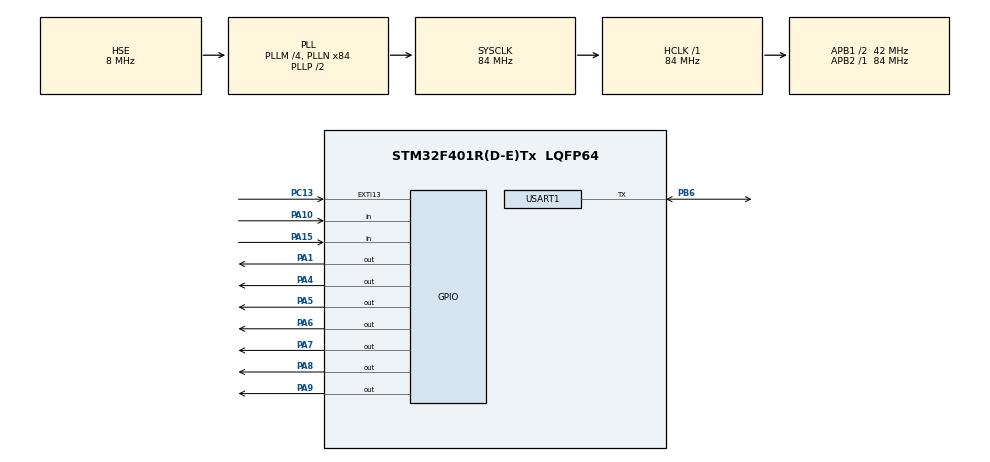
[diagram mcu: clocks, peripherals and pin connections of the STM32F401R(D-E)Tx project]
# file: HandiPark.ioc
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Mcu.Family=STM32F4
Mcu.Name=STM32F401R(D-E)Tx
Mcu.Package=LQFP64
NVIC.EXTI15_10_IRQn=true\:0\:0\:false\:false\:true\:true\:true\:true
NVIC.PriorityGroup=NVIC_PRIORITYGROUP_0
NVIC.USART1_IRQn=true\:0\:0\:false\:false\:true\:true\:true\:true
PA1.Signal=GPIO_Output
PA10.GPIO_PuPd=GPIO_PULLDOWN
PA10.Signal=GPIO_Input
PA13.Mode=Serial_Wire
PA13.Signal=SYS_JTMS-SWDIO
PA14.GPIO_Label=TCK
PA14.Mode=Serial_Wire
PA14.Signal=SYS_JTCK-SWCLK
PA15.GPIO_PuPd=GPIO_PULLDOWN
PA15.Signal=GPIO_Input
PA4.Signal=GPIO_Output
PA5.Signal=GPIO_Output
PA6.Signal=GPIO_Output
PA7.Signal=GPIO_Output
PA8.Signal=GPIO_Output
PA9.Signal=GPIO_Output
PB3.GPIO_Label=SWO
PB3.Signal=SYS_JTDO-SWO
PB6.GPIO_PuPd=GPIO_PULLUP
PB6.Mode=Half_duplex(single_wire_mode)
PB6.Signal=USART1_TX
PC13-ANTI_TAMP.GPIO_ModeDefaultEXTI=GPIO_MODE_IT_RISING
PC13-ANTI_TAMP.GPIO_PuPd=GPIO_PULLUP
PC13-ANTI_TAMP.Signal=GPXTI13
PC14-OSC32_IN.Signal=RCC_OSC32_IN
PC15-OSC32_OUT.Signal=RCC_OSC32_OUT
PH0\ -\ OSC_IN.Mode=HSE-External-Clock-Source
PH0\ -\ OSC_IN.Signal=RCC_OSC_IN
PH1\ -\ OSC_OUT.Mode=HSE-External-Clock-Source
PH1\ -\ OSC_OUT.Signal=RCC_OSC_OUT
ProjectManager.HeapSize=0x200
ProjectManager.StackSize=0x400
ProjectManager.TargetToolchain=STM32CubeIDE
RCC.48MHZClocksFreq_Value=24000000
RCC.AHBFreq_Value=84000000
RCC.APB1CLKDivider=RCC_HCLK_DIV2
RCC.APB1Freq_Value=42000000
RCC.APB1TimFreq_Value=84000000
RCC.APB2Freq_Value=84000000
RCC.APB2TimFreq_Value=84000000
RCC.CortexFreq_Value=84000000
RCC.HCLKFreq_Value=84000000
RCC.HSE_VALUE=8000000
RCC.HSI_VALUE=16000000
RCC.PLLM=4
RCC.PLLN=84
RCC.PLLQ=7
RCC.PLLSourceVirtual=RCC_PLLSOURCE_HSE
RCC.SYSCLKFreq_VALUE=84000000
RCC.SYSCLKSource=RCC_SYSCLKSOURCE_PLLCLK
RCC.VCOOutputFreq_Value=168000000
USART1.VirtualMode=VM_ASYNC
board=NUCLEO-F401RE

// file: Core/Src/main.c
/* USER CODE BEGIN Header */
/**
  ******************************************************************************
  * @file           : main.c
  * @brief          : Main program body
  ******************************************************************************
  * @attention
  *
  * Copyright (c) 2024 STMicroelectronics.
  * All rights reserved.
  *
  * This software is licensed under terms that can be found in the LICENSE file
  * in the root directory of this software component.
  * If no LICENSE file comes with this software, it is provided AS-IS.
  *
  ******************************************************************************
  */
/* USER CODE END Header */
#include "main.h"

/* USER CODE BEGIN Includes */
#include "stdio.h"
/* USER CODE END Includes */

UART_HandleTypeDef huart1;

/* USER CODE BEGIN PV */
static uint8_t handicap = 8;
static uint8_t regular = 8;

// Debounce mechanism variables
static uint32_t last_button_press = 0;
const uint32_t debounce_delay = 300;

/* USER CODE END PV */

void SystemClock_Config(void);
static void MX_GPIO_Init(void);
static void MX_USART1_UART_Init(void);

/* USER CODE BEGIN 0 */

uint8_t RxData = 0;

void HAL_UARTEx_RxEventCallback(UART_HandleTypeDef *huart, uint16_t Size) {
	HAL_UARTEx_ReceiveToIdle_IT(&huart1, &RxData, 1);
}

/* =========================================================================
If
	the USER BUTTON is pressed then number on 7-segment will increment by 1
else
	Number on the 7-segment will decrement by 1
=============================================================================
*/

// Segment numbers stored in the array
uint8_t segmentNumber[10] = {
	    ~0x3f,  // 0
	    ~0x06,  // 1
	    ~0x5b,  // 2
	    ~0x4f,  // 3
	    ~0x66,  // 4
	    ~0x6d,  // 5
	    ~0x7d,  // 6
	    ~0x07,  // 7
	    ~0x7f,  // 8
	    ~0x67   // 9
};

void SevenSegment_Update(uint8_t number){
	HAL_GPIO_WritePin(GPIOA, GPIO_PIN_9, ((number>>0)&0x01));
	HAL_GPIO_WritePin(GPIOA, GPIO_PIN_1, ((number>>1)&0x01));
	HAL_GPIO_WritePin(GPIOA, GPIO_PIN_4, ((number>>2)&0x01));
	HAL_GPIO_WritePin(GPIOA, GPIO_PIN_5, ((number>>3)&0x01));
	HAL_GPIO_WritePin(GPIOA, GPIO_PIN_6, ((number>>4)&0x01));
	HAL_GPIO_WritePin(GPIOA, GPIO_PIN_7, ((number>>5)&0x01));
	HAL_GPIO_WritePin(GPIOA, GPIO_PIN_8, ((number>>6)&0x01));
}

void displayVariableBasedOnSwitch(void) {
    static uint8_t last_displayed_value = 0xFF;  // Track last displayed value to reduce updates
    uint32_t current_time = HAL_GetTick();

    // Check if the button is pressed and debounce
    if (HAL_GPIO_ReadPin(GPIOA, GPIO_PIN_10) == GPIO_PIN_SET &&
        (current_time - last_button_press >= debounce_delay)) {

        last_button_press = current_time;  // Update last button press time

        // Check the state of PA13 (switch) to decide which variable to decrement
        if (HAL_GPIO_ReadPin(GPIOA, GPIO_PIN_15) == GPIO_PIN_SET) {
            // Switch is ON, decrement "handicap" if greater than 0
            if (handicap > 0) {
                handicap--;
            }
        } else {
            // Switch is OFF, decrement "regular" if greater than 0
            if (regular > 0) {
                regular--;
            }
        }
    }

    // Determine the current value to display based on the switch position
    uint8_t current_value = (HAL_GPIO_ReadPin(GPIOA, GPIO_PIN_15) == GPIO_PIN_SET) ? handicap : regular;

    // Update the display only if the value has changed
    if (current_value != last_displayed_value) {
        SevenSegment_Update(segmentNumber[current_value]);
        last_displayed_value = current_value;  // Store the current value as last displayed
    }
}

void check_increment(void) {
	if (RxData == 2) {
		if (handicap < 8) {
			handicap++;
			RxData = 0;
		}
	}
	else if (RxData == 1) {
		if (regular < 8) {
			regular++;
			RxData = 0;
		}
	}
}

/* USER CODE END 0 */

int main(void)
{

  /* MCU Configuration--------------------------------------------------------*/

  /* Reset of all peripherals, Initializes the Flash interface and the Systick. */
  HAL_Init();

  /* Configure the system clock */
  SystemClock_Config();

  /* Initialize all configured peripherals */
  MX_GPIO_Init();
  MX_USART1_UART_Init();
  /* USER CODE BEGIN 2 */
  HAL_HalfDuplex_EnableReceiver(&huart1);
  HAL_UARTEx_ReceiveToIdle_IT(&huart1, &RxData, 1);
  /* USER CODE END 2 */

  /* Infinite loop */
  while (1)
  {

    /* USER CODE BEGIN 3 */
	  displayVariableBasedOnSwitch();

	  check_increment();
  }
  /* USER CODE END 3 */
}

void SystemClock_Config(void)
{
  RCC_OscInitTypeDef RCC_OscInitStruct = {0};
  RCC_ClkInitTypeDef RCC_ClkInitStruct = {0};

  /** Configure the main internal regulator output voltage
  */
  __HAL_RCC_PWR_CLK_ENABLE();
  __HAL_PWR_VOLTAGESCALING_CONFIG(PWR_REGULATOR_VOLTAGE_SCALE2);

  /** Initializes the RCC Oscillators according to the specified parameters
  * in the RCC_OscInitTypeDef structure.
  */
  RCC_OscInitStruct.OscillatorType = RCC_OSCILLATORTYPE_HSE;
  RCC_OscInitStruct.HSEState = RCC_HSE_BYPASS;
  RCC_OscInitStruct.PLL.PLLState = RCC_PLL_ON;
  RCC_OscInitStruct.PLL.PLLSource = RCC_PLLSOURCE_HSE;
  RCC_OscInitStruct.PLL.PLLM = 4;
  RCC_OscInitStruct.PLL.PLLN = 84;
  RCC_OscInitStruct.PLL.PLLP = RCC_PLLP_DIV2;
  RCC_OscInitStruct.PLL.PLLQ = 7;
  if (HAL_RCC_OscConfig(&RCC_OscInitStruct) != HAL_OK)
  {
    Error_Handler();
  }

  /** Initializes the CPU, AHB and APB buses clocks
  */
  RCC_ClkInitStruct.ClockType = RCC_CLOCKTYPE_HCLK|RCC_CLOCKTYPE_SYSCLK
                              |RCC_CLOCKTYPE_PCLK1|RCC_CLOCKTYPE_PCLK2;
  RCC_ClkInitStruct.SYSCLKSource = RCC_SYSCLKSOURCE_PLLCLK;
  RCC_ClkInitStruct.AHBCLKDivider = RCC_SYSCLK_DIV1;
  RCC_ClkInitStruct.APB1CLKDivider = RCC_HCLK_DIV2;
  RCC_ClkInitStruct.APB2CLKDivider = RCC_HCLK_DIV1;

  if (HAL_RCC_ClockConfig(&RCC_ClkInitStruct, FLASH_LATENCY_2) != HAL_OK)
  {
    Error_Handler();
  }
}

static void MX_USART1_UART_Init(void)
{

  huart1.Instance = USART1;
  huart1.Init.BaudRate = 115200;
  huart1.Init.WordLength = UART_WORDLENGTH_8B;
  huart1.Init.StopBits = UART_STOPBITS_1;
  huart1.Init.Parity = UART_PARITY_NONE;
  huart1.Init.Mode = UART_MODE_TX_RX;
  huart1.Init.HwFlowCtl = UART_HWCONTROL_NONE;
  huart1.Init.OverSampling = UART_OVERSAMPLING_16;
  if (HAL_HalfDuplex_Init(&huart1) != HAL_OK)
  {
    Error_Handler();
  }

}

static void MX_GPIO_Init(void)
{
  GPIO_InitTypeDef GPIO_InitStruct = {0};

  /* GPIO Ports Clock Enable */
  __HAL_RCC_GPIOC_CLK_ENABLE();
  __HAL_RCC_GPIOH_CLK_ENABLE();
  __HAL_RCC_GPIOA_CLK_ENABLE();
  __HAL_RCC_GPIOB_CLK_ENABLE();

  /*Configure GPIO pin Output Level */
  HAL_GPIO_WritePin(GPIOA, GPIO_PIN_1|GPIO_PIN_4|GPIO_PIN_5|GPIO_PIN_6
                          |GPIO_PIN_7|GPIO_PIN_8|GPIO_PIN_9, GPIO_PIN_RESET);

  /*Configure GPIO pin : PC13 */
  GPIO_InitStruct.Pin = GPIO_PIN_13;
  GPIO_InitStruct.Mode = GPIO_MODE_IT_RISING;
  GPIO_InitStruct.Pull = GPIO_PULLDOWN;
  HAL_GPIO_Init(GPIOC, &GPIO_InitStruct);

  /*Configure GPIO pins : PA1 PA4 PA5 PA6
                           PA7 PA8 PA9 */
  GPIO_InitStruct.Pin = GPIO_PIN_1|GPIO_PIN_4|GPIO_PIN_5|GPIO_PIN_6
                          |GPIO_PIN_7|GPIO_PIN_8|GPIO_PIN_9;
  GPIO_InitStruct.Mode = GPIO_MODE_OUTPUT_PP;
  GPIO_InitStruct.Pull = GPIO_NOPULL;
  GPIO_InitStruct.Speed = GPIO_SPEED_FREQ_LOW;
  HAL_GPIO_Init(GPIOA, &GPIO_InitStruct);

  /*Configure GPIO pins : PA10 PA15 */
  GPIO_InitStruct.Pin = GPIO_PIN_10|GPIO_PIN_15;
  GPIO_InitStruct.Mode = GPIO_MODE_INPUT;
  GPIO_InitStruct.Pull = GPIO_PULLDOWN;
  HAL_GPIO_Init(GPIOA, &GPIO_InitStruct);

  /* EXTI interrupt init*/
  HAL_NVIC_SetPriority(EXTI15_10_IRQn, 2, 0);
  HAL_NVIC_EnableIRQ(EXTI15_10_IRQn);

}

void Error_Handler(void)
{
  __disable_irq();
  while (1)
  {
  }
}
